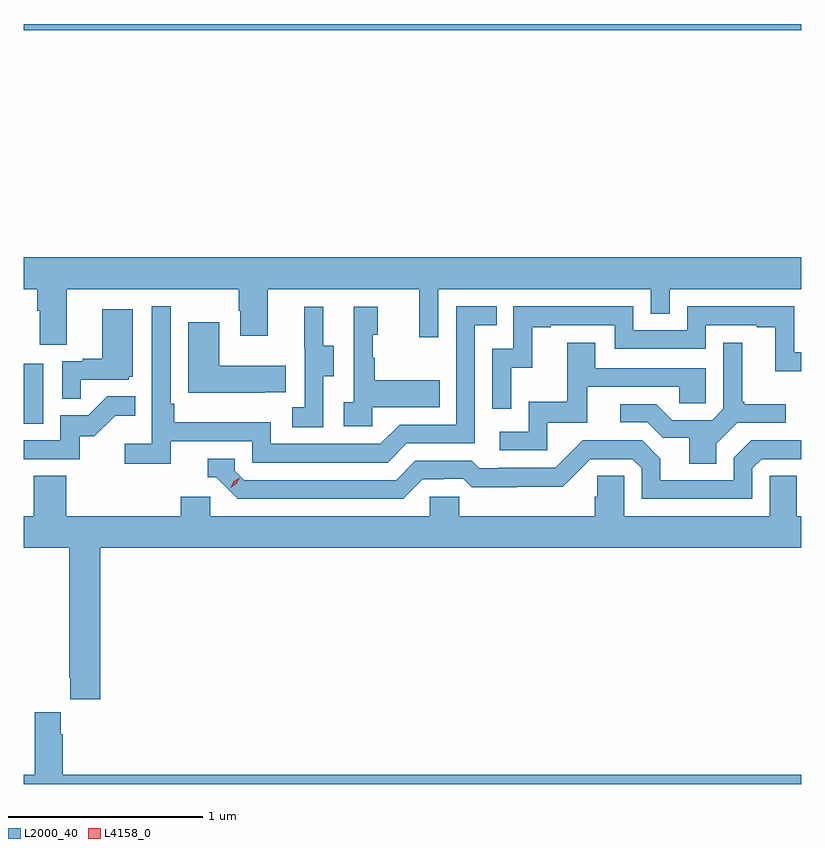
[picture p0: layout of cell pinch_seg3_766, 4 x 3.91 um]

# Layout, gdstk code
import gdstk
lib = gdstk.Library(unit=1e-6, precision=1e-09)
def R(c, l, rs):  # rectangles x0, y0, x1, y1
    for r in rs: c.add(gdstk.rectangle(r[:2], r[2:], *l))
def P(c, l, *ps):  # polygons
    for p in ps: c.add(gdstk.Polygon(p, *l))
L2000_40 = (2000, 40)
L4158_0 = (4158, 0)

pinch_seg3_766 = lib.new_cell('pinch_seg3_766')
R(pinch_seg3_766, L2000_40, [(814.069,746.844,814.168,747.151), (814.069,748.868,818.069,748.9)])
P(pinch_seg3_766, L2000_40, [(814.291,747.536),(815.176,747.536),(815.176,747.425),(815.183,747.425),(815.183,747.297),(815.323,747.297),(815.323,747.536),(816.104,747.536),(816.104,747.288),(816.201,747.288),(816.201,747.536),(817.296,747.536),(817.296,747.409),(817.392,747.409),(817.392,747.536),(818.069,747.536),(818.069,747.7),(814.069,747.7),(814.069,747.536),(814.139,747.536),(814.139,747.424),(814.151,747.424),(814.151,747.25),(814.291,747.25)],
  [(814.826,746.754),(815.244,746.754),(815.244,746.643),(815.941,746.643),(816.04,746.742),(816.39,746.742),(816.39,747.351),(816.503,747.351),(816.503,747.447),(816.294,747.447),(816.294,746.838),(816.003,746.838),(815.904,746.739),(815.34,746.739),(815.34,746.851),(814.844,746.851),(814.844,746.947),(814.824,746.947),(814.824,747.448),(814.728,747.448),(814.728,746.74),(814.587,746.74),(814.587,746.638),(814.826,746.638)],
  [(816.576,747.131),(816.686,747.131),(816.686,747.339),(816.781,747.339),(816.781,747.351),(817.11,747.351),(817.11,747.228),(817.578,747.228),(817.578,747.351),(817.841,747.351),(817.841,747.339),(817.937,747.339),(817.937,747.113),(818.069,747.113),(818.069,747.211),(818.034,747.211),(818.034,747.447),(817.482,747.447),(817.482,747.324),(817.206,747.324),(817.206,747.447),(816.588,747.447),(816.588,747.228),(816.48,747.228),(816.48,746.919),(816.576,746.919)],
  [(815.61,747.088),(815.665,747.088),(815.665,747.243),(815.611,747.243),(815.611,747.445),(815.513,747.445),(815.513,747.231),(815.514,747.231),(815.514,746.927),(815.451,746.927),(815.451,746.824),(815.61,746.824)],
  [(815.862,746.927),(816.209,746.927),(816.209,747.067),(815.875,747.067),(815.875,747.182),(815.865,747.182),(815.865,747.3),(815.89,747.3),(815.89,747.445),(815.766,747.445),(815.766,746.954),(815.715,746.954),(815.715,746.829),(815.862,746.829)],
  [(814.361,747.069),(814.608,747.069),(814.608,747.084),(814.63,747.084),(814.63,747.433),(814.472,747.433),(814.472,747.178),(814.373,747.178),(814.373,747.165),(814.266,747.165),(814.266,746.971),(814.361,746.971)],
  [(815.309,747.005),(815.417,747.005),(815.417,747.142),(815.074,747.142),(815.074,747.364),(814.916,747.364),(814.916,747.002),(815.309,747.002)],
  [(816.762,746.847),(816.967,746.847),(816.967,747.033),(817.441,747.033),(817.441,746.949),(817.578,746.949),(817.578,747.129),(817.009,747.129),(817.009,747.259),(816.865,747.259),(816.865,746.956),(816.666,746.956),(816.666,746.802),(816.519,746.802),(816.519,746.706),(816.762,746.706)],
  [(817.633,746.74),(817.74,746.847),(817.99,746.847),(817.99,746.944),(817.777,746.944),(817.777,746.956),(817.765,746.956),(817.765,747.259),(817.668,747.259),(817.668,746.919),(817.611,746.862),(817.405,746.862),(817.324,746.943),(817.137,746.943),(817.137,746.85),(817.278,746.85),(817.358,746.77),(817.493,746.77),(817.493,746.638),(817.633,746.638)],
  [(814.356,746.778),(814.432,746.778),(814.539,746.885),(814.643,746.885),(814.643,746.984),(814.499,746.984),(814.401,746.886),(814.257,746.886),(814.257,746.757),(814.069,746.757),(814.069,746.661),(814.356,746.661)],
  [(816.121,746.556),(816.228,746.556),(816.228,746.559),(816.331,746.559),(816.373,746.517),(816.606,746.517),(816.606,746.519),(816.842,746.519),(816.984,746.661),(817.2,746.661),(817.248,746.613),(817.248,746.457),(817.818,746.457),(817.818,746.613),(817.866,746.661),(818.069,746.661),(818.069,746.759),(818.028,746.759),(818.028,746.757),(817.812,746.757),(817.722,746.667),(817.722,746.553),(817.345,746.553),(817.345,746.663),(817.251,746.757),(816.945,746.757),(816.804,746.616),(816.511,746.616),(816.511,746.613),(816.412,746.613),(816.373,746.652),(816.084,746.652),(815.985,746.553),(815.202,746.553),(815.154,746.601),(815.154,746.664),(815.015,746.664),(815.015,746.568),(815.058,746.568),(815.169,746.457),(816.022,746.457)],
  [(814.463,746.204),(818.069,746.204),(818.069,746.368),(818.047,746.368),(818.047,746.576),(817.908,746.576),(817.908,746.368),(817.158,746.368),(817.158,746.576),(817.021,746.576),(817.021,746.466),(817.007,746.466),(817.007,746.368),(816.309,746.368),(816.309,746.466),(816.159,746.466),(816.159,746.368),(815.028,746.368),(815.028,746.466),(814.877,746.466),(814.877,746.368),(814.286,746.368),(814.286,746.576),(814.121,746.576),(814.121,746.368),(814.069,746.368),(814.069,746.204),(814.303,746.204),(814.303,745.537),(814.309,745.537),(814.309,745.425),(814.463,745.425)],
  [(818.069,745.036),(814.268,745.036),(814.268,745.244),(814.258,745.244),(814.258,745.357),(814.124,745.357),(814.124,745.036),(814.069,745.036),(814.069,744.989),(818.069,744.989)])
P(pinch_seg3_766, L4158_0, [(815.133,746.513),(815.133,746.513),(815.148,746.546),(815.179,746.566),(815.179,746.566),(815.179,746.566),(815.163,746.533),(815.133,746.513)])

lib.write_gds('pinch_seg3_766.gds')
